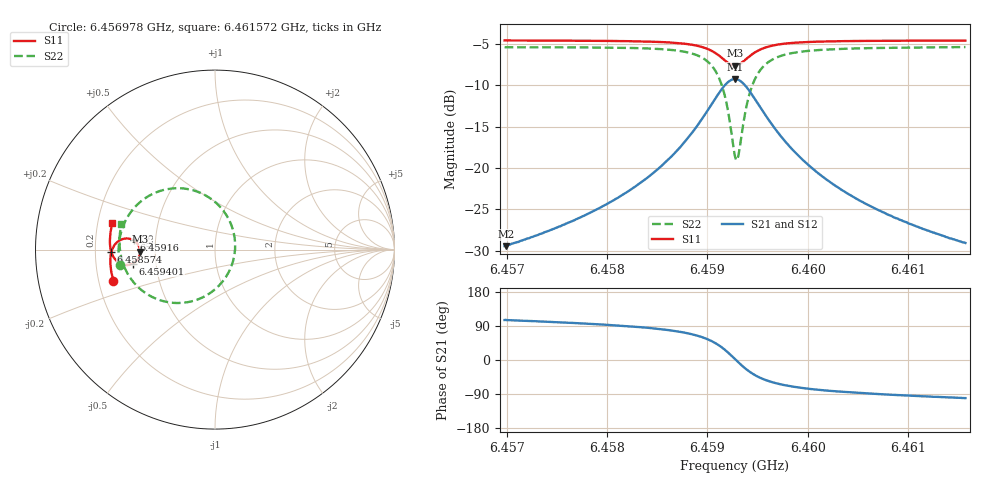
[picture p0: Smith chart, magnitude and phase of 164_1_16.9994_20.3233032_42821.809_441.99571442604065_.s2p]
#  HZ  S  RI  R  50.00
! Rohde & Schwarz Vector Network Analyzer
! Rohde-Schwarz,ZNB20-2Port,1311601062101988,3.16
! Created: UTC 3/20/2024, 10:59:22 PM
! freq[Hz]  re:S11  im:S11  re:S21  im:S21  re:S12  im:S12  re:S22  im:S22
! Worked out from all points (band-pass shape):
!   401 points, 6.456978 GHz to 6.461572 GHz, reference 50 ohm
!   highest |S21| = -9.22 dB at 6.459275 GHz (marker M1); lowest = -29.5 dB at 6.456989 GHz (marker M2)
!   |S21| within 3 dB of the highest: 6.459044 GHz to 6.459504 GHz (459.8 kHz wide, 0.00712 % of centre)
!   lowest |S11| = -7.6 dB at 6.459275 GHz (marker M3), VSWR 2.43, Z = 20.6 - j0.587 ohm
!   |S11| at or under -10 dB: nowhere
!   |S22| runs from -19.0 to -5.4 dB; largest |S21 - S12| = 0.013
!   S11 on the Smith chart (normalised r, x): 6.456978 GHz: 0.26, -0.14; 6.458574 GHz: 0.27, -0.01; 6.45916 GHz: 0.37, +0.05; 6.459401 GHz: 0.37, -0.07; 6.461572 GHz: 0.26, +0.12
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6.4569776e9  -0.5662 -0.1734  -0.00901 0.0325  -0.00722 0.0324  -0.5316 -0.0862
6.4569891e9  -0.5664 -0.1724  -0.00916 0.0324  -0.00722 0.0327  -0.5319 -0.0851
6.4577471e9  -0.5803 -0.1062  -0.00585 0.0504  -0.00322 0.0498  -0.5372 0.00385
6.458172e9  -0.5833 -0.0635  0.000244 0.07  0.00332 0.0687  -0.5293 0.0711
6.4585166e9  -0.5795 -0.0224  0.014 0.0989  0.0179 0.0962  -0.5042 0.1489
6.458574e9  -0.5778 -0.0144  0.0183 0.1059  0.0224 0.1028  -0.4961 0.1655
6.4587807e9  -0.5647 0.0178  0.0458 0.1385  0.0499 0.1336  -0.4447 0.2384
6.45893e9  -0.5421 0.0443  0.0912 0.169  0.0944 0.1625  -0.3613 0.3032
6.4590679e9  -0.498 0.0619  0.1784 0.1859  0.1795 0.1785  -0.2019 0.3421
6.4591597e9  -0.4533 0.0515  0.2687 0.1546  0.269 0.1487  -0.0353 0.2916
6.4592286e9  -0.4241 0.0193  0.3292 0.0825  0.3314 0.0772  0.0803 0.162
6.4592746e9  -0.4172 -0.0118  0.3456 0.0144  0.3493 0.00761  0.1121 0.0353
6.459309e9  -0.4213 -0.0354  0.3398 -0.038  0.3437 -0.0469  0.1007 -0.064
6.459355e9  -0.4369 -0.0617  0.3112 -0.0979  0.3135 -0.1097  0.0431 -0.177
6.4594009e9  -0.459 -0.0781  0.2691 -0.1389  0.2684 -0.152  -0.0419 -0.2516
6.4594928e9  -0.5025 -0.0849  0.1844 -0.1701  0.1785 -0.1815  -0.2102 -0.2976
6.4596421e9  -0.5465 -0.0644  0.0966 -0.1563  0.0883 -0.1626  -0.3775 -0.2485
6.4598029e9  -0.5681 -0.0369  0.0518 -0.1286  0.0442 -0.1313  -0.4578 -0.1768
6.4600441e9  -0.5809 -0.00134  0.0226 -0.0972  0.0167 -0.0978  -0.5059 -0.0948
6.4603656e9  -0.5855 0.0371  0.00719 -0.0717  0.00311 -0.0713  -0.5269 -0.0203
6.4608136e9  -0.5838 0.0824  -0.00144 -0.0519  -0.00409 -0.0511  -0.5321 0.0522
6.4615716e9  -0.5718 0.1496  -0.00644 -0.0347  -0.00814 -0.0337  -0.5211 0.1417
